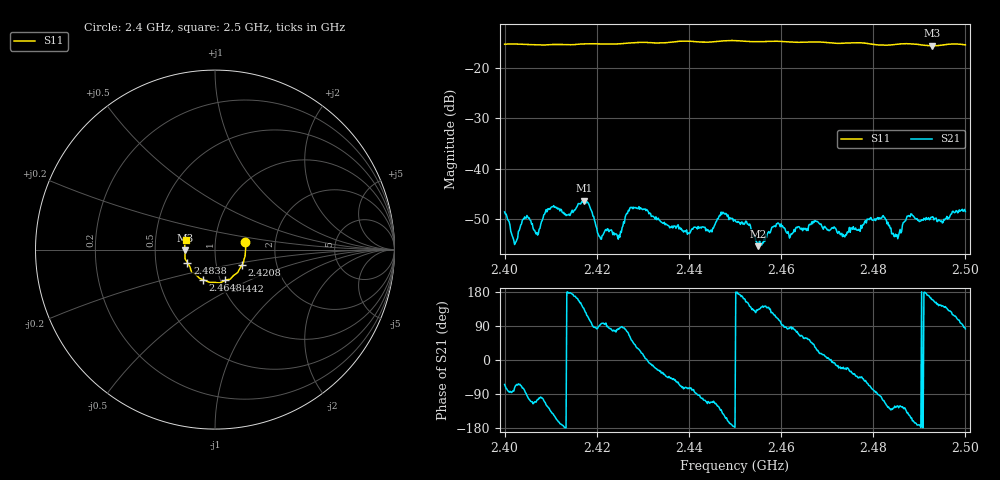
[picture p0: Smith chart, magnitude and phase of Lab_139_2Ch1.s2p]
# Hz S RI R 50
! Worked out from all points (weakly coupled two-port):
!   601 points, 2.4 GHz to 2.5 GHz, reference 50 ohm
!   highest |S21| = -46.33 dB at 2.4173 GHz (marker M1); lowest = -55.4 dB at 2.455 GHz (marker M2)
!   lowest |S11| = -15.6 dB at 2.4928 GHz (marker M3), VSWR 1.40, Z = 35.7 - j0.337 ohm
!   |S11| at or under -10 dB: start of sweep to end of sweep
!   S12 and S22 are empty: the file has one direction only
!   S11 on the Smith chart (normalised r, x): 2.4 GHz: 1.40, +0.12; 2.4208 GHz: 1.33, -0.24; 2.4442 GHz: 1.05, -0.37; 2.4648 GHz: 0.83, -0.29; 2.4838 GHz: 0.73, -0.11; 2.5 GHz: 0.72, +0.08
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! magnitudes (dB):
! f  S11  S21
! 2.4 GHz  -15.3  -48.6
! 2.4023 GHz  -15.2  -54.7
! 2.4045 GHz  -15.3  -49.8
! 2.407 GHz  -15.4  -52.7
! 2.4098 GHz  -15.4  -48.1
! 2.4167 GHz  -15.2  -46.7
! 2.4173 GHz  -15.2  -46.3
! 2.4208 GHz  -15.2  -53.9
! 2.4248 GHz  -15.2  -53.2
! 2.4277 GHz  -15.0  -47.7
! 2.4333 GHz  -15.0  -49.8
! 2.4442 GHz  -14.9  -52.2
! 2.4472 GHz  -14.6  -49.0
! 2.45 GHz  -14.5  -50.2
! 2.455 GHz  -14.8  -55.4
! 2.459 GHz  -14.7  -51.0
! 2.4648 GHz  -14.9  -51.8
! 2.4667 GHz  -14.8  -50.6
! 2.4833 GHz  -15.4  -51.3
! 2.4838 GHz  -15.4  -51.8
! 2.4928 GHz  -15.6  -49.5
! 2.5 GHz  -15.4  -48.5
